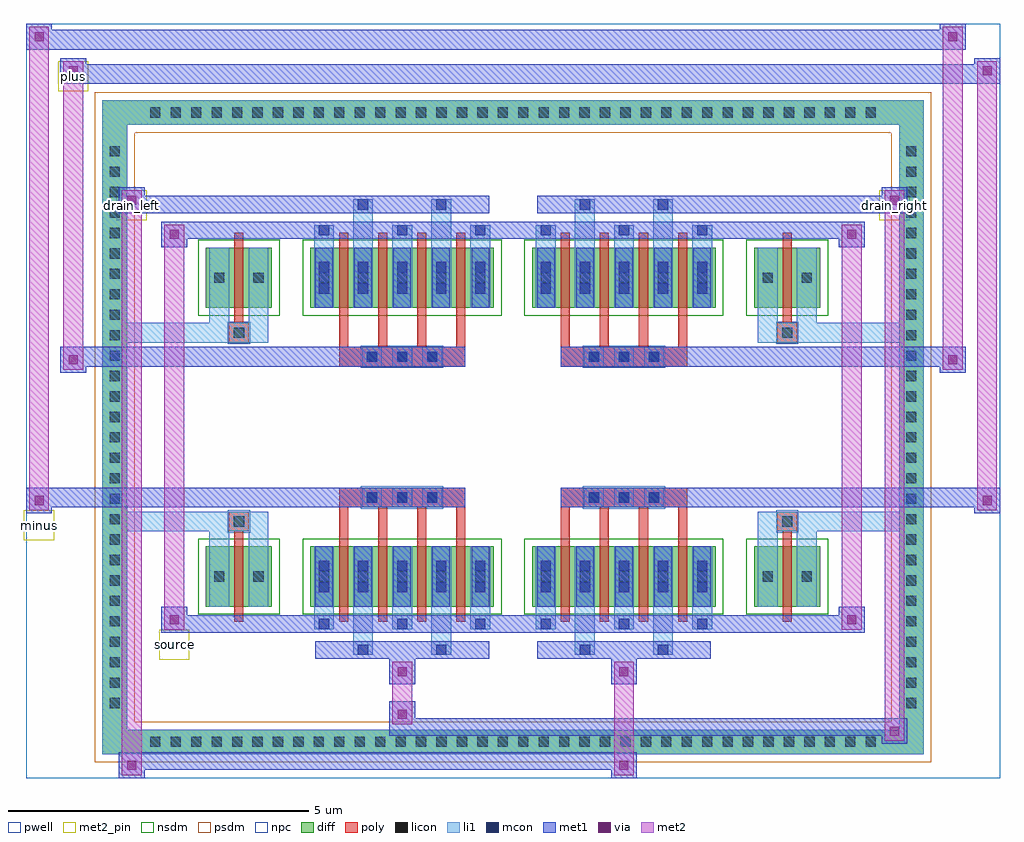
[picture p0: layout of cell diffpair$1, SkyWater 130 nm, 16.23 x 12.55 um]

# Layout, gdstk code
import gdstk
lib = gdstk.Library(unit=1e-6, precision=5e-09)
def R(c, l, rs):  # rectangles x0, y0, x1, y1
    for r in rs: c.add(gdstk.rectangle(r[:2], r[2:], *l))
def A(c, l, x, y, w, h, nx, ny, dx, dy):  # array of equal rectangles
    R(c, l, [(x+i*dx, y+j*dy, x+i*dx+w, y+j*dy+h) for i in range(nx) for j in range(ny)])
def P(c, l, *ps):  # polygons
    for p in ps: c.add(gdstk.Polygon(p, *l))
pwell = (64, 44)
diff = (65, 20)
poly = (66, 20)
licon = (66, 44)
li1 = (67, 20)
mcon = (67, 44)
met1 = (68, 20)
via = (68, 44)
met2_pin = (69, 16)
met2 = (69, 20)
nsdm = (93, 44)
psdm = (94, 20)
npc = (95, 20)

diffpair_1 = lib.new_cell('diffpair$1')
R(diffpair_1, pwell, [(-8.1,-5.84,8.1,6.71), (-5.42,-4.03,-0.01,-0.805), (0.01,-4.03,5.42,-0.805), (-5.42,0.805,-0.01,4.03), (0.01,0.805,5.42,4.03)])
A(diffpair_1, diff, -6.155, -5.44, 0.41, 0.41, 36, 2, 0.34, 10.47)
A(diffpair_1, diff, -6.83, -4.795, 0.41, 0.41, 1, 28, 0, 0.34)
A(diffpair_1, diff, 6.42, -4.795, 0.41, 0.41, 1, 28, 0, 0.34)
R(diffpair_1, diff, [(-6.155,-5.44,6.155,-5.03), (-6.83,-4.795,-6.42,4.795), (6.42,-4.795,6.83,4.795), (-5.11,-2.985,-4.01,-1.985), (-3.37,-2.985,-0.32,-1.985), (0.32,-2.985,3.37,-1.985), (4.01,-2.985,5.11,-1.985), (-5.11,1.985,-4.01,2.985), (-3.37,1.985,-0.32,2.985), (0.32,1.985,3.37,2.985), (4.01,1.985,5.11,2.985), (-6.155,5.03,6.155,5.44)])
P(diffpair_1, diff, [(6.83,5.44),(-6.83,5.44),(-6.83,-5.03),(-6.42,-5.03),(-6.42,5.03),(6.42,5.03),(6.42,-5.03),(-6.42,-5.03),(-6.83,-5.03),(-6.83,-5.44),(6.83,-5.44)])
A(diffpair_1, poly, -2.895, -3.235, 0.15, 1.5, 4, 2, 0.65, 4.97)
A(diffpair_1, poly, 0.795, -3.235, 0.15, 1.5, 4, 2, 0.65, 4.97)
A(diffpair_1, poly, -2.895, -1.735, 0.15, 0.4, 4, 2, 0.65, 3.07)
A(diffpair_1, poly, 0.795, -1.735, 0.15, 0.4, 4, 2, 0.65, 3.07)
A(diffpair_1, poly, -2.51, -1.335, 0.33, 0.33, 3, 2, 0.5, 2.34)
A(diffpair_1, poly, 1.18, -1.335, 0.33, 0.33, 3, 2, 0.5, 2.34)
R(diffpair_1, poly, [(-4.635,-3.235,-4.485,-1.735), (4.485,-3.235,4.635,-1.735), (-4.725,-1.735,-4.395,-1.405), (-4.725,-1.735,-4.395,-1.405), (4.395,-1.735,4.725,-1.405), (4.395,-1.735,4.725,-1.405), (-2.895,-1.335,-0.795,-1.005), (0.795,-1.335,2.895,-1.005), (-2.895,1.005,-0.795,1.335), (0.795,1.005,2.895,1.335), (-4.725,1.405,-4.395,1.735), (-4.725,1.405,-4.395,1.735), (4.395,1.405,4.725,1.735), (4.395,1.405,4.725,1.735), (-4.635,1.735,-4.485,3.235), (4.485,1.735,4.635,3.235)])
A(diffpair_1, licon, -6.035, -5.32, 0.17, 0.17, 36, 2, 0.34, 10.47)
A(diffpair_1, licon, -6.71, -4.675, 0.17, 0.17, 1, 28, 0, 0.34)
A(diffpair_1, licon, 6.54, -4.675, 0.17, 0.17, 1, 28, 0, 0.34)
A(diffpair_1, licon, -3.23, -2.57, 0.17, 0.17, 5, 2, 0.65, 4.97)
A(diffpair_1, licon, 0.46, -2.57, 0.17, 0.17, 5, 2, 0.65, 4.97)
A(diffpair_1, licon, -2.43, -1.255, 0.17, 0.17, 3, 2, 0.5, 2.34)
A(diffpair_1, licon, 1.26, -1.255, 0.17, 0.17, 3, 2, 0.5, 2.34)
R(diffpair_1, licon, [(-4.97,-2.57,-4.8,-2.4), (-4.32,-2.57,-4.15,-2.4), (4.15,-2.57,4.32,-2.4), (4.8,-2.57,4.97,-2.4), (-4.645,-1.655,-4.475,-1.485), (4.475,-1.655,4.645,-1.485), (-4.645,1.485,-4.475,1.655), (4.475,1.485,4.645,1.655), (-4.97,2.4,-4.8,2.57), (-4.32,2.4,-4.15,2.57), (4.15,2.4,4.32,2.57), (4.8,2.4,4.97,2.57)])
A(diffpair_1, li1, -6.115, -5.4, 0.33, 0.33, 36, 2, 0.34, 10.47)
A(diffpair_1, li1, -6.79, -4.755, 0.33, 0.33, 1, 28, 0, 0.34)
A(diffpair_1, li1, 6.46, -4.755, 0.33, 0.33, 1, 28, 0, 0.34)
A(diffpair_1, li1, -3.31, -3.36, 0.33, 0.375, 3, 2, 1.3, 6.345)
A(diffpair_1, li1, -3.23, -3.36, 0.17, 0.17, 3, 2, 1.3, 6.55)
A(diffpair_1, li1, 0.38, -3.36, 0.33, 0.375, 3, 2, 1.3, 6.345)
A(diffpair_1, li1, 0.46, -3.36, 0.17, 0.17, 3, 2, 1.3, 6.55)
A(diffpair_1, li1, -3.31, -2.985, 0.33, 1, 5, 2, 0.65, 4.97)
A(diffpair_1, li1, 0.38, -2.985, 0.33, 1, 5, 2, 0.65, 4.97)
A(diffpair_1, li1, -3.23, -2.75, 0.17, 0.17, 5, 2, 0.65, 0.36)
A(diffpair_1, li1, -3.23, -2.75, 0.17, 0.53, 5, 2, 0.65, 4.97)
A(diffpair_1, li1, 0.46, -2.75, 0.17, 0.17, 5, 2, 0.65, 0.36)
A(diffpair_1, li1, 0.46, -2.75, 0.17, 0.53, 5, 2, 0.65, 4.97)
A(diffpair_1, li1, -3.31, -2.65, 0.33, 0.33, 5, 2, 0.65, 4.97)
A(diffpair_1, li1, 0.38, -2.65, 0.33, 0.33, 5, 2, 0.65, 4.97)
A(diffpair_1, li1, -2.51, -1.335, 0.33, 0.33, 3, 2, 0.5, 2.34)
A(diffpair_1, li1, 1.18, -1.335, 0.33, 0.33, 3, 2, 0.5, 2.34)
A(diffpair_1, li1, -3.23, 2.22, 0.17, 0.17, 5, 2, 0.65, 0.36)
A(diffpair_1, li1, 0.46, 2.22, 0.17, 0.17, 5, 2, 0.65, 0.36)
R(diffpair_1, li1, [(-6.83,-5.44,-6.42,-5.03), (-6.83,-5.44,-6.42,-5.03), (-6.42,-5.44,6.42,-5.03), (6.42,-5.44,6.83,-5.03), (6.42,-5.44,6.83,-5.03), (-6.83,-5.03,-6.42,5.03), (6.42,-5.03,6.83,5.03), (-2.66,-3.79,-2.33,-2.985), (-2.58,-3.79,-2.41,-3.62), (-1.36,-3.79,-1.03,-2.985), (-1.28,-3.79,-1.11,-3.62), (1.03,-3.79,1.36,-2.985), (1.11,-3.79,1.28,-3.62), (2.33,-3.79,2.66,-2.985), (2.41,-3.79,2.58,-3.62), (-5.05,-2.985,-4.72,-1.985), (-4.4,-2.985,-4.07,-1.985), (4.07,-2.985,4.4,-1.985), (4.72,-2.985,5.05,-1.985), (-5.05,-2.65,-4.72,-2.32), (-4.4,-2.65,-4.07,-2.32), (4.07,-2.65,4.4,-2.32), (4.72,-2.65,5.05,-2.32), (-5.05,-1.985,-4.72,-1.405), (-4.4,-1.985,-4.07,-1.405), (4.07,-1.985,4.4,-1.405), (4.72,-1.985,5.05,-1.405), (-6.83,-1.735,-4.725,-1.405), (-5.05,-1.735,-4.725,-1.405), (-4.725,-1.735,-4.395,-1.405), (-4.395,-1.735,-4.07,-1.405), (4.07,-1.735,4.395,-1.405), (4.395,-1.735,4.725,-1.405), (4.395,-1.735,6.83,-1.405), (4.725,-1.735,5.05,-1.405), (-6.83,1.405,-4.725,1.735), (-5.05,1.405,-4.725,1.735), (-5.05,1.405,-4.72,1.985), (-4.725,1.405,-4.395,1.735), (-4.4,1.405,-4.07,1.985), (-4.395,1.405,-4.07,1.735), (4.07,1.405,4.395,1.735), (4.07,1.405,4.4,1.985), (4.395,1.405,4.725,1.735), (4.395,1.405,6.83,1.735), (4.72,1.405,5.05,1.985), (4.725,1.405,5.05,1.735), (-5.05,1.985,-4.72,2.985), (-4.4,1.985,-4.07,2.985), (4.07,1.985,4.4,2.985), (4.72,1.985,5.05,2.985), (-5.05,2.32,-4.72,2.65), (-4.4,2.32,-4.07,2.65), (4.07,2.32,4.4,2.65), (4.72,2.32,5.05,2.65), (-2.66,2.985,-2.33,3.79), (-1.36,2.985,-1.03,3.79), (1.03,2.985,1.36,3.79), (2.33,2.985,2.66,3.79), (-2.58,3.62,-2.41,3.79), (-1.28,3.62,-1.11,3.79), (1.11,3.62,1.28,3.79), (2.41,3.62,2.58,3.79), (-6.83,5.03,-6.42,5.44), (-6.83,5.03,-6.42,5.44), (-6.42,5.03,6.42,5.44), (6.42,5.03,6.83,5.44), (6.42,5.03,6.83,5.44)])
A(diffpair_1, mcon, -3.23, -3.36, 0.17, 0.17, 3, 2, 1.3, 6.55)
A(diffpair_1, mcon, 0.46, -3.36, 0.17, 0.17, 3, 2, 1.3, 6.55)
A(diffpair_1, mcon, -3.23, -2.75, 0.17, 0.17, 5, 2, 0.65, 0.36)
A(diffpair_1, mcon, 0.46, -2.75, 0.17, 0.17, 5, 2, 0.65, 0.36)
A(diffpair_1, mcon, -2.43, -1.255, 0.17, 0.17, 3, 2, 0.5, 2.34)
A(diffpair_1, mcon, 1.26, -1.255, 0.17, 0.17, 3, 2, 0.5, 2.34)
A(diffpair_1, mcon, -3.23, 2.22, 0.17, 0.17, 5, 2, 0.65, 0.36)
A(diffpair_1, mcon, 0.46, 2.22, 0.17, 0.17, 5, 2, 0.65, 0.36)
R(diffpair_1, mcon, [(-2.58,-3.79,-2.41,-3.62), (-1.28,-3.79,-1.11,-3.62), (1.11,-3.79,1.28,-3.62), (2.41,-3.79,2.58,-3.62), (-2.58,3.62,-2.41,3.79), (-1.28,3.62,-1.11,3.79), (1.11,3.62,1.28,3.79), (2.41,3.62,2.58,3.79)])
A(diffpair_1, met1, -3.29, -3.42, 0.29, 0.29, 3, 2, 1.3, 6.55)
A(diffpair_1, met1, 0.4, -3.42, 0.29, 0.29, 3, 2, 1.3, 6.55)
A(diffpair_1, met1, -3.29, -2.985, 0.29, 1, 5, 2, 0.65, 4.97)
A(diffpair_1, met1, 0.4, -2.985, 0.29, 1, 5, 2, 0.65, 4.97)
A(diffpair_1, met1, -3.29, -2.81, 0.29, 0.29, 5, 2, 0.65, 0.36)
A(diffpair_1, met1, 0.4, -2.81, 0.29, 0.29, 5, 2, 0.65, 0.36)
A(diffpair_1, met1, -2.49, -1.315, 0.29, 0.29, 3, 2, 0.5, 2.34)
A(diffpair_1, met1, 1.2, -1.315, 0.29, 0.29, 3, 2, 0.5, 2.34)
A(diffpair_1, met1, -3.29, 2.16, 0.29, 0.29, 5, 2, 0.65, 0.36)
A(diffpair_1, met1, 0.4, 2.16, 0.29, 0.29, 5, 2, 0.65, 0.36)
R(diffpair_1, met1, [(-6.56,-5.84,-6.13,-5.41), (1.63,-5.84,2.06,-5.41), (-6.56,-5.7,2.06,-5.41), (6.13,-5.27,6.56,-4.84), (-2.06,-5.13,6.56,-4.84), (-2.06,-4.99,-1.63,-4.56), (-2.06,-4.28,-1.63,-3.85), (1.63,-4.28,2.06,-3.85), (-3.29,-3.85,-0.4,-3.56), (-2.64,-3.85,-2.35,-3.56), (-1.34,-3.85,-1.05,-3.56), (0.4,-3.85,3.29,-3.56), (1.05,-3.85,1.34,-3.56), (2.35,-3.85,2.64,-3.56), (-5.85,-3.42,-5.42,-2.99), (-5.85,-3.42,-3.29,-3.13), (-3.29,-3.42,-0.4,-3.13), (-0.4,-3.42,0.4,-3.13), (0.4,-3.42,3.29,-3.13), (3.29,-3.42,5.85,-3.13), (5.42,-3.42,5.85,-2.99), (-8.1,-1.435,-7.67,-1.005), (7.67,-1.435,8.1,-1.005), (-8.1,-1.335,-0.795,-1.005), (-2.895,-1.335,-0.795,-1.005), (0.795,-1.335,2.895,-1.005), (0.795,-1.335,8.1,-1.005), (-7.53,0.905,-7.1,1.335), (7.1,0.905,7.53,1.335), (-7.53,1.005,-2.895,1.335), (-2.895,1.005,-0.795,1.335), (0.795,1.005,2.895,1.335), (2.895,1.005,7.53,1.335), (-5.85,2.99,-5.42,3.42), (5.42,2.99,5.85,3.42), (-5.85,3.13,-3.29,3.42), (-3.29,3.13,-0.4,3.42), (-0.4,3.13,0.4,3.42), (0.4,3.13,3.29,3.42), (3.29,3.13,5.85,3.42), (-6.56,3.56,-6.13,3.99), (-6.56,3.56,-3.29,3.85), (-3.29,3.56,-0.4,3.85), (-2.64,3.56,-2.35,3.85), (-1.34,3.56,-1.05,3.85), (0.4,3.56,3.29,3.85), (1.05,3.56,1.34,3.85), (2.35,3.56,2.64,3.85), (3.29,3.56,6.56,3.85), (6.13,3.56,6.56,3.99), (-7.53,5.71,-7.1,6.14), (-7.53,5.71,-5.42,6.04), (-5.42,5.71,5.42,6.04), (5.42,5.71,8.1,6.04), (7.67,5.71,8.1,6.14), (-8.1,6.28,-7.67,6.71), (-8.1,6.28,-5.42,6.61), (-5.42,6.28,5.42,6.61), (5.42,6.28,7.53,6.61), (7.1,6.28,7.53,6.71)])
R(diffpair_1, via, [(-6.42,-5.7,-6.27,-5.55), (1.77,-5.7,1.92,-5.55), (6.27,-5.13,6.42,-4.98), (-1.92,-4.85,-1.77,-4.7), (-1.92,-4.14,-1.77,-3.99), (1.77,-4.14,1.92,-3.99), (-5.71,-3.28,-5.56,-3.13), (5.56,-3.28,5.71,-3.13), (-7.96,-1.295,-7.81,-1.145), (7.81,-1.295,7.96,-1.145), (-7.39,1.045,-7.24,1.195), (7.24,1.045,7.39,1.195), (-5.71,3.13,-5.56,3.28), (5.56,3.13,5.71,3.28), (-6.42,3.7,-6.27,3.85), (6.27,3.7,6.42,3.85), (-7.39,5.85,-7.24,6), (7.81,5.85,7.96,6), (-7.96,6.42,-7.81,6.57), (7.24,6.42,7.39,6.57)])
R(diffpair_1, met2_pin, [(-5.885,-3.87,-5.385,-3.37), (-8.135,-1.885,-7.635,-1.385), (-6.595,3.44,-6.095,3.94), (6.095,3.44,6.595,3.94), (-7.565,5.59,-7.065,6.09)])
R(diffpair_1, met2, [(-6.51,-5.79,-6.18,-5.46), (-6.51,-5.79,-6.18,3.94), (1.68,-5.79,2.01,-5.46), (1.68,-5.46,2.01,-4.23), (6.18,-5.22,6.51,-4.89), (6.18,-5.22,6.51,3.94), (-2.01,-4.94,-1.68,-4.61), (-2.01,-4.61,-1.68,-4.23), (-2.01,-4.23,-1.68,-3.9), (1.68,-4.23,2.01,-3.9), (-5.8,-3.37,-5.47,-3.04), (-5.8,-3.37,-5.47,3.37), (5.47,-3.37,5.8,-3.04), (5.47,-3.37,5.8,3.37), (-8.05,-1.385,-7.72,-1.055), (-8.05,-1.385,-7.72,6.66), (7.72,-1.385,8.05,-1.055), (7.72,-1.385,8.05,6.09), (-7.48,0.955,-7.15,1.285), (-7.48,0.955,-7.15,6.09), (7.15,0.955,7.48,1.285), (7.15,0.955,7.48,6.66), (-5.8,3.04,-5.47,3.37), (5.47,3.04,5.8,3.37), (-6.51,3.61,-6.18,3.94), (6.18,3.61,6.51,3.94), (-7.48,5.76,-7.15,6.09), (7.72,5.76,8.05,6.09), (-8.05,6.33,-7.72,6.66), (7.15,6.33,7.48,6.66)])
P(diffpair_1, met2, [(8.05,-1.385),(8.05,-1.385),(8.05,-1.055),(8.05,-1.055)],
  [(8.05,5.76),(8.05,5.76),(8.05,6.09),(8.05,6.09)],
  [(-7.72,-1.385),(-7.72,-1.385),(-7.72,-1.055),(-7.72,-1.055)],
  [(-7.72,6.33),(-7.72,6.33),(-7.72,6.66),(-7.72,6.66)],
  [(7.48,0.955),(7.48,0.955),(7.48,1.285),(7.48,1.285)],
  [(7.48,6.33),(7.48,6.33),(7.48,6.66),(7.48,6.66)],
  [(-7.15,0.955),(-7.15,0.955),(-7.15,1.285),(-7.15,1.285)],
  [(-7.15,5.76),(-7.15,5.76),(-7.15,6.09),(-7.15,6.09)],
  [(-6.18,-5.79),(-6.18,-5.79),(-6.18,-5.46),(-6.18,-5.46)],
  [(-6.18,3.61),(-6.18,3.61),(-6.18,3.94),(-6.18,3.94)],
  [(6.51,-5.22),(6.51,-5.22),(6.51,-4.89),(6.51,-4.89)],
  [(6.51,3.61),(6.51,3.61),(6.51,3.94),(6.51,3.94)],
  [(-5.47,-3.37),(-5.47,-3.37),(-5.47,-3.04),(-5.47,-3.04)],
  [(-5.47,3.04),(-5.47,3.04),(-5.47,3.37),(-5.47,3.37)],
  [(5.8,-3.37),(5.8,-3.37),(5.8,-3.04),(5.8,-3.04)],
  [(5.8,3.04),(5.8,3.04),(5.8,3.37),(5.8,3.37)])
R(diffpair_1, nsdm, [(-5.24,-3.115,-3.88,-1.855), (-3.5,-3.115,-0.19,-1.855), (0.19,-3.115,3.5,-1.855), (3.88,-3.115,5.24,-1.855), (-5.24,1.855,-3.88,3.115), (-3.5,1.855,-0.19,3.115), (0.19,1.855,3.5,3.115), (3.88,1.855,5.24,3.115)])
P(diffpair_1, psdm, [(6.96,5.57),(-6.96,5.57),(-6.96,-4.9),(-6.29,-4.9),(-6.29,4.9),(6.29,4.9),(6.29,-4.9),(-6.29,-4.9),(-6.96,-4.9),(-6.96,-5.57),(6.96,-5.57)])
A(diffpair_1, npc, -2.53, -1.355, 0.37, 0.37, 3, 2, 0.5, 2.34)
A(diffpair_1, npc, 1.16, -1.355, 0.37, 0.37, 3, 2, 0.5, 2.34)
R(diffpair_1, npc, [(-4.745,-1.755,-4.375,-1.385), (4.375,-1.755,4.745,-1.385), (-2.53,-1.355,-1.66,-0.985), (-2.53,-1.355,-1.66,-0.985), (-2.03,-1.355,-1.16,-0.985), (-2.03,-1.355,-1.16,-0.985), (1.16,-1.355,2.03,-0.985), (1.16,-1.355,2.03,-0.985), (1.66,-1.355,2.53,-0.985), (1.66,-1.355,2.53,-0.985), (-2.53,0.985,-1.66,1.355), (-2.53,0.985,-1.66,1.355), (-2.03,0.985,-1.16,1.355), (-2.03,0.985,-1.16,1.355), (1.16,0.985,2.03,1.355), (1.16,0.985,2.03,1.355), (1.66,0.985,2.53,1.355), (1.66,0.985,2.53,1.355), (-4.745,1.385,-4.375,1.755), (4.375,1.385,4.745,1.755)])
diffpair_1.add(gdstk.Label('minus', (-7.885,-1.635), layer=69, texttype=5))
diffpair_1.add(gdstk.Label('drain_right', (6.345,3.69), layer=69, texttype=5))
diffpair_1.add(gdstk.Label('drain_left', (-6.345,3.69), layer=69, texttype=5))
diffpair_1.add(gdstk.Label('source', (-5.635,-3.62), layer=69, texttype=5))
diffpair_1.add(gdstk.Label('plus', (-7.315,5.84), layer=69, texttype=5))

lib.write_gds('diffpair_1.gds')
